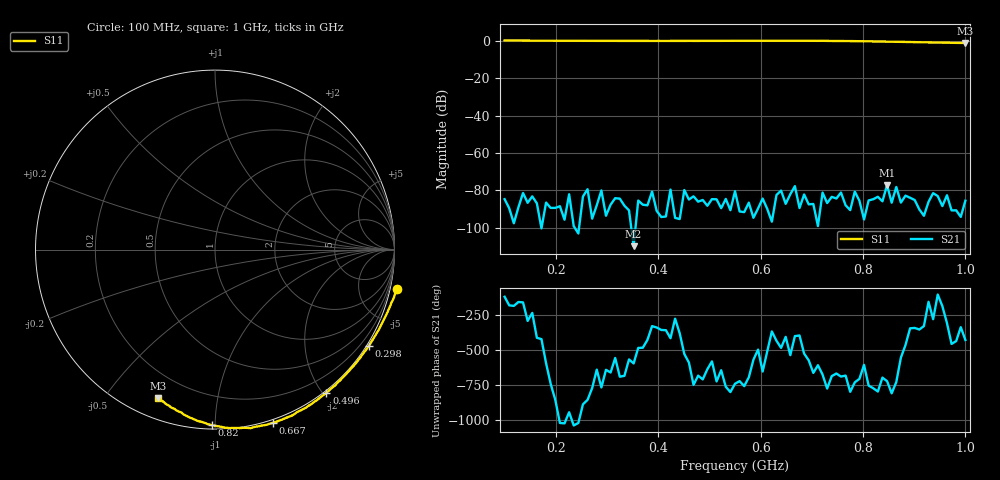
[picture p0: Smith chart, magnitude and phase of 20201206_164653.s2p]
# HZ S RI R 50
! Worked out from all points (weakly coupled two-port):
!   101 points, 100 MHz to 1 GHz, reference 50 ohm
!   highest |S21| = -77.09 dB at 847 MHz (marker M1); lowest = -109.8 dB at 352 MHz (marker M2)
!   lowest |S11| = -1.0 dB at 1 GHz (marker M3), VSWR 16.60, Z = 4.43 - j34.3 ohm
!   |S11| at or under -10 dB: nowhere
!   S12 and S22 are empty: the file has one direction only
!   S11 on the Smith chart (normalised r, x): 100 MHz: -1.54, -9.11; 298 MHz: -0.07, -3.49; 496 MHz: -0.03, -2.05; 667 MHz: -0.03, -1.39; 820 MHz: 0.02, -0.98; 1 GHz: 0.09, -0.69
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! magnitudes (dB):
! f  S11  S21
! 100 MHz  0.3  -84.7
! 253 MHz  0.1  -83.2
! 262 MHz  0.1  -79.3
! 271 MHz  0.1  -95.1
! 298 MHz  0.1  -93.5
! 352 MHz  0.1  -109.8
! 406 MHz  0.1  -94.2
! 424 MHz  0.1  -79.5
! 433 MHz  0.1  -94.7
! 496 MHz  0.1  -88.2
! 550 MHz  0.1  -80.4
! 658 MHz  0.2  -82.0
! 667 MHz  0.2  -77.7
! 676 MHz  0.1  -89.4
! 703 MHz  0.1  -87.3
! 820 MHz  -0.2  -84.7
! 838 MHz  -0.3  -85.8
! 847 MHz  -0.3  -77.1
! 856 MHz  -0.4  -86.6
! 865 MHz  -0.4  -78.2
! 874 MHz  -0.4  -86.5
! 1 GHz  -1.0  -85.5
